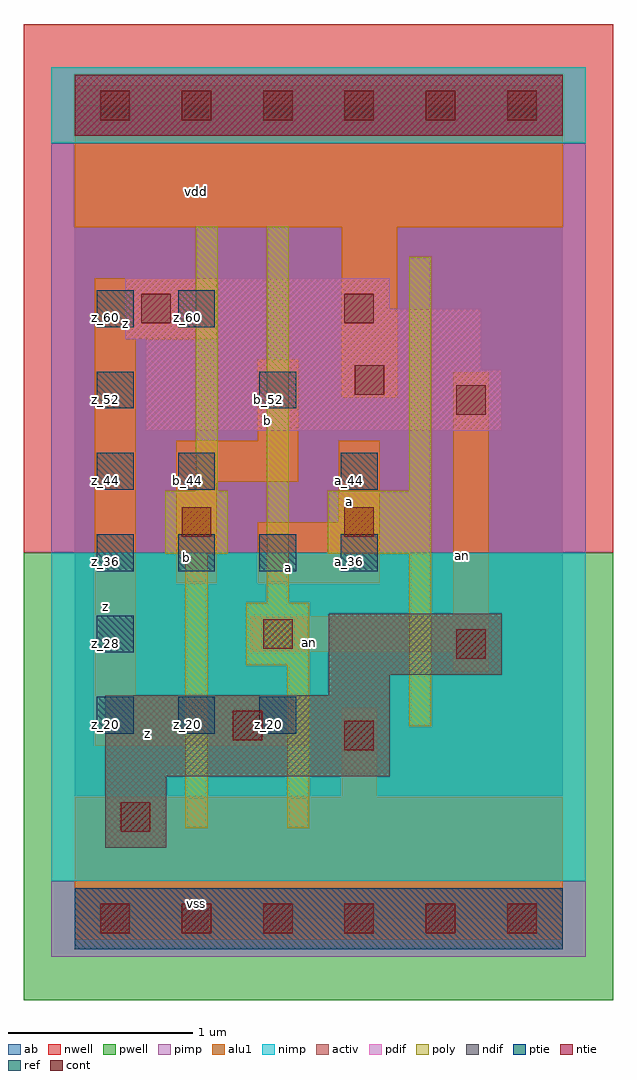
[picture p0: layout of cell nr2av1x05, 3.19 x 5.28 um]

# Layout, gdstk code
import gdstk
lib = gdstk.Library(unit=1e-6, precision=2.5e-09)
def R(c, l, rs):  # rectangles x0, y0, x1, y1
    for r in rs: c.add(gdstk.rectangle(r[:2], r[2:], *l))
def A(c, l, x, y, w, h, nx, ny, dx, dy):  # array of equal rectangles
    R(c, l, [(x+i*dx, y+j*dy, x+i*dx+w, y+j*dy+h) for i in range(nx) for j in range(ny)])
ndif = (3, 0)
pdif = (4, 0)
ntie = (5, 0)
ptie = (6, 0)
ref = (24, 0)
cont = (25, 0)
pwell = (41, 0)
nwell = (42, 0)
activ = (43, 0)
pimp = (44, 0)
nimp = (45, 0)
poly = (46, 0)
alu1 = (49, 0)
ab = (63, 0)

nr2av1x05 = lib.new_cell('nr2av1x05')
R(nr2av1x05, ndif, [(0.165,0.385,0.495,0.77), (0.165,0.77,1.705,1.21), (1.375,1.21,1.705,1.32), (1.375,1.32,2.31,1.65)])
R(nr2av1x05, pdif, [(0.385,2.64,2.31,2.97), (0.385,2.97,2.2,3.135), (0.275,3.135,2.2,3.3), (0.275,3.3,1.705,3.465)])
R(nr2av1x05, ntie, [(0,4.235,2.64,4.565)])
R(nr2av1x05, ptie, [(0,-0.165,2.64,0.165)])
A(nr2av1x05, ref, 0.12, 1, 0.2, 0.2, 3, 1, 0.44, 0)
A(nr2av1x05, ref, 0.12, 1.88, 0.2, 0.2, 4, 1, 0.44, 0)
A(nr2av1x05, ref, 0.12, 2.32, 0.2, 0.2, 1, 3, 0, 0.44)
R(nr2av1x05, ref, [(0.12,1.44,0.32,1.64), (0.56,2.32,0.76,2.52), (1.44,2.32,1.64,2.52), (1,2.76,1.2,2.96), (0.56,3.2,0.76,3.4)])
A(nr2av1x05, cont, 0.14, -0.08, 0.16, 0.16, 6, 2, 0.44, 4.4)
A(nr2av1x05, cont, 1.46, 0.91, 0.16, 0.16, 1, 3, 0, 1.155)
R(nr2av1x05, cont, [(0.25,0.47,0.41,0.63), (0.855,0.965,1.015,1.125), (2.065,1.405,2.225,1.565), (1.02,1.46,1.18,1.62), (0.58,2.065,0.74,2.225), (2.065,2.725,2.225,2.885), (1.515,2.835,1.675,2.995), (0.36,3.22,0.52,3.38)])
R(nr2av1x05, pwell, [(-0.275,-0.44,2.915,1.98)])
R(nr2av1x05, nwell, [(-0.275,1.98,2.915,4.84)])
R(nr2av1x05, activ, [(0,-0.165,2.64,0.165), (0.165,0.385,0.495,0.77), (0.165,0.77,1.705,1.21), (1.375,1.21,1.705,1.32), (1.375,1.32,2.31,1.65), (0.385,2.64,2.31,2.97), (0.385,2.97,2.2,3.135), (0.275,3.135,2.2,3.3), (0.275,3.3,1.705,3.465), (0,4.235,2.64,4.565)])
R(nr2av1x05, pimp, [(-0.125,-0.205,2.765,0.205), (-0.125,1.98,2.765,4.195)])
R(nr2av1x05, nimp, [(-0.125,0.205,2.765,1.98), (-0.125,4.195,2.765,4.605)])
R(nr2av1x05, poly, [(0.6,0.49,0.72,1.975), (1.15,0.49,1.27,1.37), (1.81,1.04,1.93,1.975), (0.93,1.37,1.27,1.71), (1.04,1.71,1.16,3.745), (0.49,1.975,0.83,2.315), (1.37,1.975,1.93,2.315), (0.655,2.315,0.775,3.745), (1.81,2.315,1.93,3.58)])
R(nr2av1x05, alu1, [(0,-0.11,2.64,0.66), (1.445,0.66,1.635,1.14), (0.11,0.935,1.265,1.21), (0.11,1.21,0.33,3.135), (2.05,1.335,2.24,1.445), (0.95,1.445,2.24,1.635), (2.05,1.635,2.24,2.955), (0.55,1.815,0.77,2.365), (0.99,1.815,1.65,2.145), (1.43,2.145,1.65,2.585), (0.55,2.365,1.21,2.585), (0.99,2.585,1.21,3.025), (1.445,2.82,1.745,3.74), (0.11,3.135,0.77,3.465), (0,3.74,2.64,4.51)])
R(nr2av1x05, ab, [(0,0,2.64,4.4)])
nr2av1x05.add(gdstk.Label('vss', (0.66,0.0825), layer=49, texttype=0))
nr2av1x05.add(gdstk.Label('z', (0.3975,1.0025), layer=49, texttype=0))
nr2av1x05.add(gdstk.Label('an', (1.2725,1.4925), layer=49, texttype=0))
nr2av1x05.add(gdstk.Label('an', (2.0975,1.965), layer=49, texttype=0))
nr2av1x05.add(gdstk.Label('a', (1.155,1.8975), layer=49, texttype=0))
nr2av1x05.add(gdstk.Label('a', (1.485,2.255), layer=49, texttype=0))
nr2av1x05.add(gdstk.Label('b', (0.605,1.9525), layer=49, texttype=0))
nr2av1x05.add(gdstk.Label('b', (1.045,2.695), layer=49, texttype=0))
nr2av1x05.add(gdstk.Label('z', (0.165,1.69), layer=49, texttype=0))
nr2av1x05.add(gdstk.Label('z', (0.275,3.2175), layer=49, texttype=0))
nr2av1x05.add(gdstk.Label('vdd', (0.66,3.9325), layer=49, texttype=0))
nr2av1x05.add(gdstk.Label('z_20', (0.61,1.05), layer=24, texttype=0))
nr2av1x05.add(gdstk.Label('b_36', (0.61,1.93), layer=24, texttype=0))
nr2av1x05.add(gdstk.Label('b_44', (0.61,2.37), layer=24, texttype=0))
nr2av1x05.add(gdstk.Label('z_60', (0.61,3.25), layer=24, texttype=0))
nr2av1x05.add(gdstk.Label('z_20', (1.05,1.05), layer=24, texttype=0))
nr2av1x05.add(gdstk.Label('a_36', (1.05,1.93), layer=24, texttype=0))
nr2av1x05.add(gdstk.Label('b_52', (1.05,2.81), layer=24, texttype=0))
nr2av1x05.add(gdstk.Label('a_36', (1.49,1.93), layer=24, texttype=0))
nr2av1x05.add(gdstk.Label('a_44', (1.49,2.37), layer=24, texttype=0))
nr2av1x05.add(gdstk.Label('z_20', (0.17,1.05), layer=24, texttype=0))
nr2av1x05.add(gdstk.Label('z_28', (0.17,1.49), layer=24, texttype=0))
nr2av1x05.add(gdstk.Label('z_36', (0.17,1.93), layer=24, texttype=0))
nr2av1x05.add(gdstk.Label('z_44', (0.17,2.37), layer=24, texttype=0))
nr2av1x05.add(gdstk.Label('z_52', (0.17,2.81), layer=24, texttype=0))
nr2av1x05.add(gdstk.Label('z_60', (0.17,3.25), layer=24, texttype=0))

lib.write_gds('nr2av1x05.gds')
